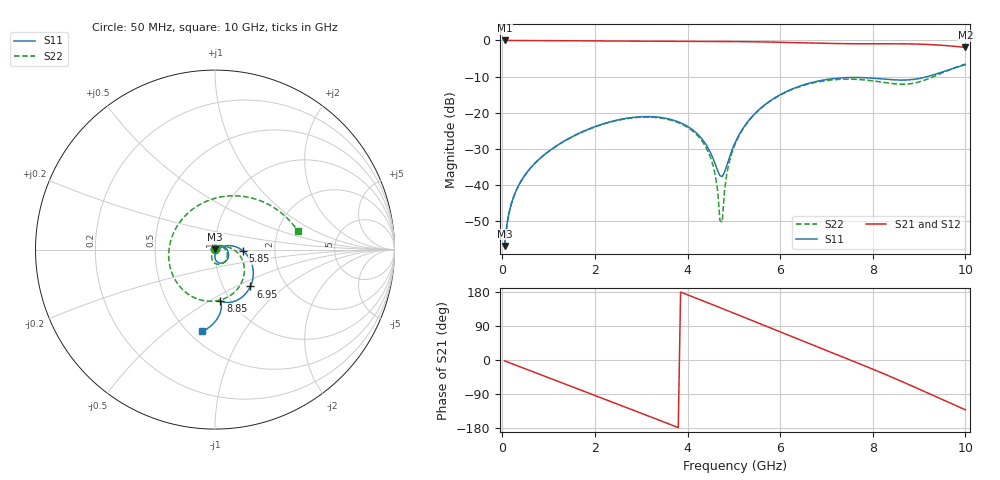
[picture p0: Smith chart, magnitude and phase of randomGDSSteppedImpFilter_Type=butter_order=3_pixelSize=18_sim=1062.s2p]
! freq	dB(S11)	phase(S11)	dB(S12)	phase(S12)
!  dB(S21)	phase(S21)	dB(S22)	phase(S22)
!S-par simulation data
#  GHz  S  DB  R 50
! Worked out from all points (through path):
!   200 points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, 50 MHz to 10 GHz, reference 50 ohm
!   highest |S21| = -0.01 dB at 50 MHz (marker M1); lowest = -1.9 dB at 10 GHz (marker M2)
!   group delay of S21, straight-line fit = 136 ps
!   lowest |S11| = -56.8 dB at 50 MHz (marker M3), VSWR 1.00, Z = 50 + j0.138 ohm
!   |S11| at or under -10 dB: start of sweep to 9.176 GHz
!   |S22| runs from -56.8 to -6.5 dB; largest |S21 - S12| = 0
!   S11 on the Smith chart (normalised r, x): 50 MHz: 1.00, +0.00; 5.85 GHz: 1.37, -0.02; 6.95 GHz: 1.34, -0.60; 8.85 GHz: 0.90, -0.56; 10 GHz: 0.58, -0.67
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0.05  -56.77 71.7  -0.01 -2.4  -0.01 -2.4  -56.85 72.0
0.2  -44.96 76.4  -0.02 -9.4  -0.02 -9.4  -44.95 75.0
0.45  -37.95 69.1  -0.03 -21.1  -0.03 -21.1  -37.96 66.0
1.75  -25.11 14.7  -0.10 -81.8  -0.10 -81.8  -25.19 5.0
2.5  -21.95 -19.0  -0.16 -117.0  -0.16 -117.0  -22.05 -31.0
3.4  -21.25 -58.7  -0.23 -159.4  -0.23 -159.4  -21.41 -74.1
4.35  -27.86 -91.2  -0.27 155.3  -0.27 155.3  -28.51 -119.0
4.55  -32.57 -85.4  -0.28 145.6  -0.28 145.6  -34.48 -126.9
4.65  -35.98 -68.5  -0.29 140.7  -0.29 140.7  -41.42 -126.9
4.7  -37.38 -51.3  -0.29 138.3  -0.29 138.3  -49.79 -109.3
4.75  -37.60 -29.2  -0.29 135.9  -0.29 135.9  -50.20 9.3
4.8  -36.37 -9.2  -0.30 133.4  -0.30 133.4  -41.25 28.1
4.85  -34.43 4.3  -0.30 131.0  -0.30 131.0  -36.72 29.2
5.05  -27.65 20.2  -0.32 121.2  -0.32 121.2  -27.98 22.3
5.85  -16.13 -2.5  -0.46 81.6  -0.46 81.6  -16.23 -17.6
6.7  -11.57 -36.6  -0.72 39.7  -0.72 39.7  -11.78 -63.3
6.95  -10.91 -46.2  -0.79 27.5  -0.79 27.5  -11.17 -77.4
7.65  -10.23 -69.5  -0.91 -6.7  -0.91 -6.7  -10.76 -120.9
8.35  -10.79 -83.2  -0.92 -42.1  -0.92 -42.1  -11.81 -178.7
8.85  -10.81 -83.9  -0.98 -68.7  -0.98 -68.7  -11.90 124.7
9.4  -9.13 -85.0  -1.26 -98.9  -1.26 -98.9  -9.53 62.8
10  -6.72 -98.8  -1.93 -131.5  -1.93 -131.5  -6.52 12.9
